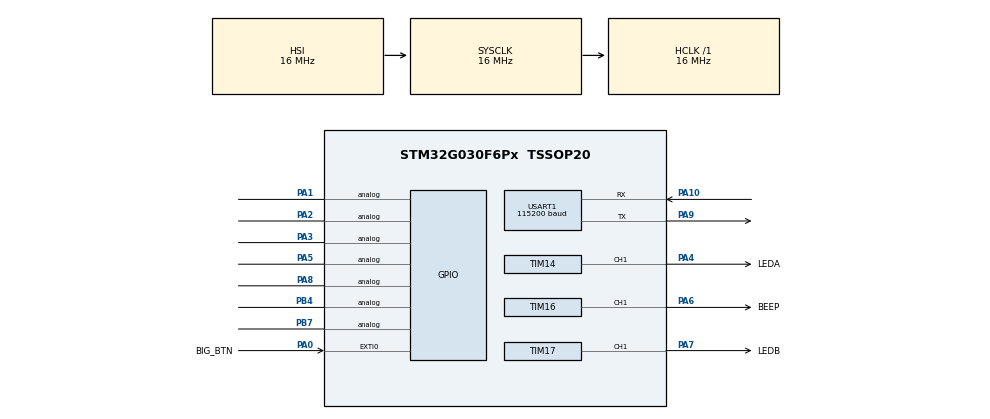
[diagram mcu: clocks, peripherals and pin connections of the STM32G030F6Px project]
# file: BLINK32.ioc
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Mcu.Family=STM32G0
Mcu.Name=STM32G030F6Px
Mcu.Package=TSSOP20
NVIC.EXTI0_1_IRQn=true\:0\:0\:false\:false\:true\:true\:true\:true
NVIC.RTC_TAMP_IRQn=true\:0\:0\:false\:false\:true\:true\:true\:true
NVIC.USART1_IRQn=true\:0\:0\:false\:false\:true\:true\:true\:true
PA0.GPIO_Label=BIG_BTN
PA0.GPIO_ModeDefaultEXTI=GPIO_MODE_IT_RISING
PA0.GPIO_PuPd=GPIO_PULLDOWN
PA0.Signal=GPXTI0
PA1.Signal=GPIO_Analog
PA10\ [PA12].Mode=Asynchronous
PA10\ [PA12].Signal=USART1_RX
PA13.Mode=Serial_Wire
PA13.Signal=SYS_SWDIO
PA14-BOOT0.Mode=Serial_Wire
PA14-BOOT0.Signal=SYS_SWCLK
PA14-BOOT0__PA15.StandardMode=true
PA2.Signal=GPIO_Analog
PA3.Signal=GPIO_Analog
PA4.GPIO_Label=LEDA
PA4.Signal=S_TIM14_CH1
PA5.Signal=GPIO_Analog
PA6.GPIO_Label=BEEP
PA6.Signal=S_TIM16_CH1
PA7.GPIO_Label=LEDB
PA7.Signal=S_TIM17_CH1
PA8.Signal=GPIO_Analog
PA9\ [PA11].Mode=Asynchronous
PA9\ [PA11].Signal=USART1_TX
PB0__PB1__PB2__PA8.StandardMode=true
PB3__PB4__PB5__PB6.StandardMode=true
PB4.Signal=GPIO_Analog
PB7.Signal=GPIO_Analog
PB7__PB8.StandardMode=true
PC14-OSC32_IN\ (PC14).Mode=LSE-External-Oscillator
PC14-OSC32_IN\ (PC14).Signal=RCC_OSC32_IN
PC14-OSC32_IN\ (PC14)__PB9.StandardMode=true
PC15-OSC32_OUT\ (PC15).Mode=LSE-External-Oscillator
PC15-OSC32_OUT\ (PC15).Signal=RCC_OSC32_OUT
ProjectManager.HeapSize=0x200
ProjectManager.StackSize=0x400
ProjectManager.TargetToolchain=CMake
RCC.ADCFreq_Value=16000000
RCC.AHBFreq_Value=16000000
RCC.CortexFreq_Value=16000000
RCC.EXTERNAL_CLOCK_VALUE=12288000
RCC.HCLKFreq_Value=16000000
RCC.HSE_VALUE=8000000
RCC.HSI_VALUE=16000000
RCC.RTCClockSelection=RCC_RTCCLKSOURCE_LSE
RCC.SYSCLKFreq_VALUE=16000000
RCC.VCOOutputFreq_Value=128000000
RTC.Alarm-Alarm\ A=RTC_ALARM_A
RTC.Format=RTC_FORMAT_BCD
RTC.Hours=7
RTC.Hours_A-Alarm\ A=8
RTC.Minutes=59
RTC.Minutes_A-Alarm\ A=0
RTC.Seconds=30
RTC.Year=25
SH.S_TIM14_CH1.0=TIM14_CH1,PWM Generation1 CH1
SH.S_TIM16_CH1.0=TIM16_CH1,PWM Generation1 CH1
SH.S_TIM17_CH1.0=TIM17_CH1,PWM Generation1 CH1
TIM14.AutoReloadPreload=TIM_AUTORELOAD_PRELOAD_ENABLE
TIM14.Channel=TIM_CHANNEL_1
TIM14.Period=1600-1
TIM14.Prescaler=0
TIM16.AutoReloadPreload=TIM_AUTORELOAD_PRELOAD_ENABLE
TIM16.Channel=TIM_CHANNEL_1
TIM16.Period=1600-1
TIM16.Prescaler=0
TIM17.AutoReloadPreload=TIM_AUTORELOAD_PRELOAD_ENABLE
TIM17.Channel=TIM_CHANNEL_1
TIM17.Period=1600-1
USART1.BaudRate=115200
USART1.Parity=PARITY_EVEN
USART1.VirtualMode-Asynchronous=VM_ASYNC
USART1.WordLength=WORDLENGTH_9B
VP_RTC_VS_RTC_Activate.Mode=RTC_Enabled
VP_RTC_VS_RTC_Alarm_A_Intern.Mode=Alarm A
VP_RTC_VS_RTC_Calendar.Mode=RTC_Calendar
VP_SYS_VS_PINREMAP.Mode=PINREMAP
VP_SYS_VS_PINREMAP_10_12.Mode=PINREMAP_10_12
VP_TIM14_VS_ClockSourceINT.Mode=Enable_Timer
VP_TIM16_VS_ClockSourceINT.Mode=Enable_Timer
VP_TIM17_VS_ClockSourceINT.Mode=Enable_Timer
board=custom

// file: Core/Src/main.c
/* USER CODE BEGIN Header */
/**
  ******************************************************************************
  * @file           : main.c
  * @brief          : Main program body
  ******************************************************************************
  * @attention
  *
  * Copyright (c) 2025 STMicroelectronics.
  * All rights reserved.
  *
  * This software is licensed under terms that can be found in the LICENSE file
  * in the root directory of this software component.
  * If no LICENSE file comes with this software, it is provided AS-IS.
  *
  ******************************************************************************
  */
/* USER CODE END Header */
#include "main.h"
#include "rtc.h"
#include "tim.h"
#include "usart.h"
#include "gpio.h"

/* USER CODE BEGIN Includes */
#include <string.h>
#include <stdlib.h>
/* USER CODE END Includes */

/* USER CODE BEGIN PV */
// 灯光状态枚举
LightStateTypeDef lightState = LIGHT_OFF;
uint32_t pressStartTime = 0;
uint32_t dimStartTime = 0;
uint8_t buttonPressed = 0;
// 添加时间打印相关变量
uint32_t lastPrintTime = 0;

// 添加串口接收相关变量
uint8_t rxBuffer[50];  // 接收缓冲区
uint8_t rxIndex = 0;   // 接收索引
volatile uint8_t playBeepFlag = 0;  // 蜂鸣器播放标志
volatile uint8_t alarmWakeup = 0;     // 闹钟唤醒标志
uint8_t alarmEnabled = 0;             // 闹铃启用标志

typedef enum {
  WAKEUP_SOURCE_RESET = 0,
  WAKEUP_SOURCE_BUTTON,
  WAKEUP_SOURCE_ALARM,
  WAKEUP_SOURCE_OTHER
} WakeupSourceTypeDef;

WakeupSourceTypeDef wakeupSource = WAKEUP_SOURCE_RESET;

/* USER CODE END PV */

void SystemClock_Config(void);

/* USER CODE BEGIN 0 */
// 串口命令处理函数声明
void ProcessSerialCommand(char* command);
void SetSystemTime(char* timeStr);
void SetSystemDate(char* dateStr);
// 添加闹铃处理函数声明
void SetAlarmTime(char* alarmStr);
void CancelAlarm(void);
void PlayBeepSound(void);

// 轻量级字符串格式化辅助函数
static inline void append2digits(char* buf, int val) {
  buf[0] = (val / 10) + '0';
  buf[1] = (val % 10) + '0';
  buf[2] = '\0';
}

// 简单的字符串解析时间 (HH:MM:SS)，返回0成功，-1失败
static inline int parseTime(const char* str, int* h, int* m, int* s) {
  // 简单实现：查找冒号，atoi
  const char* p = str;
  char tmp[3] = {0};
  // 解析小时
  if (*p < '0' || *p > '9') return -1;
  tmp[0] = *p++;
  if (*p >= '0' && *p <= '9') tmp[1] = *p++;
  *h = atoi(tmp);
  if (*p != ':') return -1;
  p++;
  // 解析分钟
  if (*p < '0' || *p > '9') return -1;
  tmp[0] = *p++;
  if (*p >= '0' && *p <= '9') tmp[1] = *p++;
  *m = atoi(tmp);
  if (*p != ':') return -1;
  p++;
  // 解析秒
  if (*p < '0' || *p > '9') return -1;
  tmp[0] = *p++;
  if (*p >= '0' && *p <= '9') tmp[1] = *p++;
  *s = atoi(tmp);
  return 0;
}

// 简单的日期解析 (YYYY-MM-DD)
static inline int parseDate(const char* str, int* y, int* m, int* d) {
  const char* p = str;
  char tmp[5] = {0};
  // 解析年份4位
  for (int i = 0; i < 4; i++) {
    if (*p < '0' || *p > '9') return -1;
    tmp[i] = *p++;
  }
  *y = atoi(tmp);
  if (*p != '-') return -1;
  p++;
  // 解析月份2位
  if (*p < '0' || *p > '9') return -1;
  tmp[0] = *p++; tmp[1] = *p++; tmp[2] = '\0';
  *m = atoi(tmp);
  if (*p != '-') return -1;
  p++;
  // 解析日期2位
  if (*p < '0' || *p > '9') return -1;
  tmp[0] = *p++; tmp[1] = *p++; tmp[2] = '\0';
  *d = atoi(tmp);
  return 0;
}
/* USER CODE END 0 */

int main(void)
{

  /* MCU Configuration--------------------------------------------------------*/

  /* Reset of all peripherals, Initializes the Flash interface and the Systick. */
  HAL_Init();

  /* Configure the system clock */
  SystemClock_Config();

  /* Initialize all configured peripherals */
  MX_GPIO_Init();
  MX_RTC_Init();
  MX_TIM14_Init();
  MX_USART1_UART_Init();
  MX_TIM16_Init();
  MX_TIM17_Init();
  /* USER CODE BEGIN 2 */

  // 检查唤醒源 - 必须在所有外设初始化完成后进行
  if (__HAL_PWR_GET_FLAG(PWR_FLAG_SB) != RESET) {
    // 从Standby模式唤醒
    // 先检查闹钟唤醒标志（在RTC中断中设置）
    if (alarmWakeup) {
      // RTC闹钟唤醒
      wakeupSource = WAKEUP_SOURCE_ALARM;
      alarmWakeup = 0;
    } else if (__HAL_PWR_GET_FLAG(PWR_FLAG_WUF1) != RESET) {
      // 按键唤醒 (WKUP1 - PA0)
      wakeupSource = WAKEUP_SOURCE_BUTTON;
      __HAL_PWR_CLEAR_FLAG(PWR_FLAG_WUF1);
    } else {
      // 其他唤醒源
      wakeupSource = WAKEUP_SOURCE_OTHER;
    }
    // 清除Standby标志
    __HAL_PWR_CLEAR_FLAG(PWR_FLAG_SB);
  } else {
    // 复位启动
    wakeupSource = WAKEUP_SOURCE_RESET;
  }

  // 启动TIM14 PWM输出 (LEDA)
  HAL_TIM_PWM_Start(&htim14, TIM_CHANNEL_1);

  // 启动TIM17 PWM输出 (LEDB)
  HAL_TIM_PWM_Start(&htim17, TIM_CHANNEL_1);

  // 启动TIM16 PWM输出 (蜂鸣器)
  HAL_TIM_PWM_Start(&htim16, TIM_CHANNEL_1);
  __HAL_TIM_SET_COMPARE(&htim16, TIM_CHANNEL_1, 0);

  // 初始化完成后直接进入微光模式
  SetLightDim();
  lightState = LIGHT_DIM;
  dimStartTime = HAL_GetTick();

  // 启动串口接收
  HAL_UART_Receive_IT(&huart1, &rxBuffer[rxIndex], 1);
  /* USER CODE END 2 */

  /* Infinite loop */
  while (1)
  {

    /* USER CODE BEGIN 3 */

    // 处理蜂鸣器播放标志 - 仅当闹钟唤醒时才播放
    if (playBeepFlag && wakeupSource == WAKEUP_SOURCE_ALARM) {
      playBeepFlag = 0;
      PlayBeepSound();
    }

    // 每隔1秒打印系统时间（仅在非待机模式下）
    if ((HAL_GetTick() - lastPrintTime) >= 1000) {
      // 获取RTC时间
      RTC_TimeTypeDef sTime;
      RTC_DateTypeDef sDate;

      HAL_RTC_GetTime(&hrtc, &sTime, RTC_FORMAT_BIN);
      HAL_RTC_GetDate(&hrtc, &sDate, RTC_FORMAT_BIN);

      // 获取闹铃状态
      char* alarmStatus = GetAlarmStatus();
     // 根据唤醒源生成相应的字符串
      char* wakeupSourceStr;
      switch (wakeupSource) {
        case WAKEUP_SOURCE_BUTTON:
          wakeupSourceStr = "BUTTON";
          break;
        case WAKEUP_SOURCE_ALARM:
          wakeupSourceStr = "ALARM";
          break;
        case WAKEUP_SOURCE_OTHER:
          wakeupSourceStr = "OTHER";
          break;
        case WAKEUP_SOURCE_RESET:
        default:
          wakeupSourceStr = "RESET";
          break;
      }

      // 格式化时间字符串 (简化版，节省代码空间)
      char timeStr[50];
      char *p = timeStr;
      // YYYY-MM-DD
      *p++ = '2'; *p++ = '0';
      *p++ = (sDate.Year / 10) + '0';
      *p++ = (sDate.Year % 10) + '0';
      *p++ = '-';
      *p++ = (sDate.Month / 10) + '0';
      *p++ = (sDate.Month % 10) + '0';
      *p++ = '-';
      *p++ = (sDate.Date / 10) + '0';
      *p++ = (sDate.Date % 10) + '0';
      *p++ = ' ';
      // HH:MM:SS
      *p++ = (sTime.Hours / 10) + '0';
      *p++ = (sTime.Hours % 10) + '0';
      *p++ = ':';
      *p++ = (sTime.Minutes / 10) + '0';
      *p++ = (sTime.Minutes % 10) + '0';
      *p++ = ':';
      *p++ = (sTime.Seconds / 10) + '0';
      *p++ = (sTime.Seconds % 10) + '0';
      *p++ = ' ';
      // ALARM:status
      strcpy(p, "ALARM:"); p += 6;
      strcpy(p, alarmStatus); p += strlen(alarmStatus);
      *p++ = ' ';
      // WAKEUP:source
      strcpy(p, "WAKEUP:"); p += 7;
      strcpy(p, wakeupSourceStr); p += strlen(wakeupSourceStr);
      *p++ = '\r'; *p++ = '\n';
      *p = '\0';

      // 通过串口打印时间、日期和闹铃信息
      HAL_UART_Transmit(&huart1, (uint8_t*)timeStr, strlen(timeStr), HAL_MAX_DELAY);

      // 更新上次打印时间
      lastPrintTime = HAL_GetTick();
    }

    // 检查微光模式超时 (30分钟)
    if (lightState == LIGHT_DIM) {
      if ((HAL_GetTick() - dimStartTime) >= DIM_TIMEOUT_MS) {
        // 微光模式超时，关闭灯光并进入待机模式
        TurnOffLight();
        EnterStandbyMode();
      }
    }

    // 检查按键状态（软件轮询方式检测按键释放）
    if (buttonPressed) {

      if (HAL_GPIO_ReadPin(BIG_BTN_GPIO_Port, BIG_BTN_Pin) == GPIO_PIN_RESET) {
        // 按键已释放，处理按键事件
        buttonPressed = 0;
        uint32_t pressDuration = HAL_GetTick() - pressStartTime;

        uint32_t lightDuration  = HAL_GetTick() - dimStartTime;
        // 根据当前状态和按压时间处理按键事件
        // 灯已经亮了超过 1 秒才允许处理，避免启动后 1 秒内的按键被响应。
        if (lightState == LIGHT_DIM && pressDuration <= SHORT_PRESS_MAX_MS && lightDuration > 1000) {
          // 微光模式下按键 短按：关闭灯光并进入待机模式
          TurnOffLight();
          EnterStandbyMode();
        } else if (lightState == LIGHT_BRIGHT) {
          // 高亮模式下按键：关闭灯光并进入待机模式
          TurnOffLight();
          EnterStandbyMode();
        }
      } else {
        // 按键仍处于按下状态，检查是否为长按
        uint32_t pressDuration = HAL_GetTick() - pressStartTime;
        if (pressDuration > LONG_PRESS_MS && lightState == LIGHT_DIM) {
          // 长按：进入高亮模式（无需等待释放）
          SetLightBright();
          lightState = LIGHT_BRIGHT;
          buttonPressed = 0; // 防止重复触发
        }
      }
    }

    // 短暂延时以减少CPU占用
    HAL_Delay(10);
  }
  /* USER CODE END 3 */
}

void SystemClock_Config(void)
{
  RCC_OscInitTypeDef RCC_OscInitStruct = {0};
  RCC_ClkInitTypeDef RCC_ClkInitStruct = {0};

  /** Configure the main internal regulator output voltage
  */
  HAL_PWREx_ControlVoltageScaling(PWR_REGULATOR_VOLTAGE_SCALE1);

  /** Configure LSE Drive Capability
  */
  HAL_PWR_EnableBkUpAccess();
  __HAL_RCC_LSEDRIVE_CONFIG(RCC_LSEDRIVE_LOW);

  /** Initializes the RCC Oscillators according to the specified parameters
  * in the RCC_OscInitTypeDef structure.
  */
  RCC_OscInitStruct.OscillatorType = RCC_OSCILLATORTYPE_HSI|RCC_OSCILLATORTYPE_LSE;
  RCC_OscInitStruct.LSEState = RCC_LSE_ON;
  RCC_OscInitStruct.HSIState = RCC_HSI_ON;
  RCC_OscInitStruct.HSIDiv = RCC_HSI_DIV1;
  RCC_OscInitStruct.HSICalibrationValue = RCC_HSICALIBRATION_DEFAULT;
  RCC_OscInitStruct.PLL.PLLState = RCC_PLL_NONE;
  if (HAL_RCC_OscConfig(&RCC_OscInitStruct) != HAL_OK)
  {
    Error_Handler();
  }

  /** Initializes the CPU, AHB and APB buses clocks
  */
  RCC_ClkInitStruct.ClockType = RCC_CLOCKTYPE_HCLK|RCC_CLOCKTYPE_SYSCLK
                              |RCC_CLOCKTYPE_PCLK1;
  RCC_ClkInitStruct.SYSCLKSource = RCC_SYSCLKSOURCE_HSI;
  RCC_ClkInitStruct.AHBCLKDivider = RCC_SYSCLK_DIV1;
  RCC_ClkInitStruct.APB1CLKDivider = RCC_HCLK_DIV1;

  if (HAL_RCC_ClockConfig(&RCC_ClkInitStruct, FLASH_LATENCY_0) != HAL_OK)
  {
    Error_Handler();
  }
}

/* USER CODE BEGIN 4 */
/**
  * @brief  USART1中断回调函数
  * @param  huart 串口句柄
  * @retval None
  */
void HAL_UART_RxCpltCallback(UART_HandleTypeDef *huart)
{
  if(huart->Instance == USART1) {
    // 如果接收到回车符或换行符，则处理命令
    if(rxBuffer[rxIndex] == '\r' || rxBuffer[rxIndex] == '\n') {
      // 添加字符串结束符
      rxBuffer[rxIndex] = '\0';

      // 处理命令（如果缓冲区不为空）
      if(rxIndex > 0) {
        ProcessSerialCommand((char*)rxBuffer);
      }

      // 重置接收索引
      rxIndex = 0;
    } else {
      // 继续接收下一个字符
      rxIndex++;

      // 防止缓冲区溢出
      if(rxIndex >= sizeof(rxBuffer)-1) {
        rxIndex = 0;
      }
    }

    // 继续接收下一个字节
    HAL_UART_Receive_IT(&huart1, &rxBuffer[rxIndex], 1);
  }
}

/**
  * @brief  处理串口命令
  * @param  command 命令字符串
  * @retval None
  */
void ProcessSerialCommand(char* command) {
  // 移除可能存在的换行符
  char* newline = strchr(command, '\r');
  if(newline) *newline = '\0';
  newline = strchr(command, '\n');
  if(newline) *newline = '\0';

  // 解析命令
  if(strncmp(command, "TIME=", 5) == 0) {
    // 设置时间命令，格式为 TIME=HH:MM:SS
    SetSystemTime(command+5);
  } else if(strncmp(command, "DATE=", 5) == 0) {
    // 设置日期命令，格式为 DATE=YYYY-MM-DD
    SetSystemDate(command+5);
  } else if(strncmp(command, "ALARM=", 6) == 0) {
    // 设置闹铃命令，格式为 ALARM=HH:MM:SS 或 ALARM=OFF
    SetAlarmTime(command+6);
  } else if(strcmp(command, "BEEP=1") == 0) {
    // 播放提示音命令 - 设置标志由主循环处理
    playBeepFlag = 1;
    char successMsg[] = "Beep command received\r\n";
    HAL_UART_Transmit(&huart1, (uint8_t*)successMsg, strlen(successMsg), HAL_MAX_DELAY);
  } else {
    // 未知命令，返回错误信息
    char errorMsg[] = "ERROR: Unknown command\r\n";
    HAL_UART_Transmit(&huart1, (uint8_t*)errorMsg, strlen(errorMsg), HAL_MAX_DELAY);
  }
}

/**
  * @brief  设置系统时间
  * @param  timeStr 时间字符串，格式为 HH:MM:SS
  * @retval None
  */
void SetSystemTime(char* timeStr) {
  int hours, minutes, seconds;

  // 解析时间字符串
  if(parseTime(timeStr, &hours, &minutes, &seconds) == 0) {
    // 验证时间有效性
    if(hours >= 0 && hours <= 23 &&
       minutes >= 0 && minutes <= 59 &&
       seconds >= 0 && seconds <= 59) {

      // 设置RTC时间
      RTC_TimeTypeDef sTime;
      sTime.Hours = hours;
      sTime.Minutes = minutes;
      sTime.Seconds = seconds;
      sTime.DayLightSaving = RTC_DAYLIGHTSAVING_NONE;
      sTime.StoreOperation = RTC_STOREOPERATION_RESET;

      if(HAL_RTC_SetTime(&hrtc, &sTime, RTC_FORMAT_BIN) == HAL_OK) {
        char successMsg[] = "Time set successfully\r\n";
        HAL_UART_Transmit(&huart1, (uint8_t*)successMsg, strlen(successMsg), HAL_MAX_DELAY);
      } else {
        char errorMsg[] = "ERROR: Failed to set time\r\n";
        HAL_UART_Transmit(&huart1, (uint8_t*)errorMsg, strlen(errorMsg), HAL_MAX_DELAY);
      }
    } else {
      char errorMsg[] = "ERROR: Invalid time\r\n";
      HAL_UART_Transmit(&huart1, (uint8_t*)errorMsg, strlen(errorMsg), HAL_MAX_DELAY);
    }
  } else {
    char errorMsg[] = "ERROR: Invalid time\r\n";
    HAL_UART_Transmit(&huart1, (uint8_t*)errorMsg, strlen(errorMsg), HAL_MAX_DELAY);
  }
}

/**
  * @brief  设置系统日期
  * @param  dateStr 日期字符串，格式为 YYYY-MM-DD
  * @retval None
  */
void SetSystemDate(char* dateStr) {
  int year, month, day;

  // 解析日期字符串
  if(parseDate(dateStr, &year, &month, &day) == 0) {
    // 验证日期有效性
    if(year >= 2000 && year <= 2099 &&
       month >= 1 && month <= 12 &&
       day >= 1 && day <= 31) {

      // 转换年份为RTC格式 (0-99)
      year = year - 2000;

      // 设置RTC日期
      RTC_DateTypeDef sDate;
      sDate.Year = year;
      sDate.Month = month;
      sDate.Date = day;
      sDate.WeekDay = RTC_WEEKDAY_MONDAY;

      if(HAL_RTC_SetDate(&hrtc, &sDate, RTC_FORMAT_BIN) == HAL_OK) {
        char successMsg[] = "Date set OK\r\n";
        HAL_UART_Transmit(&huart1, (uint8_t*)successMsg, strlen(successMsg), HAL_MAX_DELAY);
      } else {
        char errorMsg[] = "ERROR: Set date\r\n";
        HAL_UART_Transmit(&huart1, (uint8_t*)errorMsg, strlen(errorMsg), HAL_MAX_DELAY);
      }
    } else {
      char errorMsg[] = "ERROR: Invalid date\r\n";
      HAL_UART_Transmit(&huart1, (uint8_t*)errorMsg, strlen(errorMsg), HAL_MAX_DELAY);
    }
  } else {
    char errorMsg[] = "ERROR: Invalid date\r\n";
    HAL_UART_Transmit(&huart1, (uint8_t*)errorMsg, strlen(errorMsg), HAL_MAX_DELAY);
  }
}

/**
  * @brief  设置闹铃时间
  * @param  alarmStr 闹铃字符串，格式为 HH:MM:SS 或 OFF
  * @retval None
  */
void SetAlarmTime(char* alarmStr) {
  // 检查是否为取消闹铃命令
  if(strcmp(alarmStr, "OFF") == 0) {
    // 取消闹铃
    CancelAlarm();
    return;
  }

  int hours, minutes, seconds;

  // 解析时间字符串
  if(parseTime(alarmStr, &hours, &minutes, &seconds) == 0) {
    // 验证时间有效性
    if(hours >= 0 && hours <= 23 &&
       minutes >= 0 && minutes <= 59 &&
       seconds >= 0 && seconds <= 59) {

      // 设置RTC闹铃 - 使用日期模式实现每天重复
      RTC_AlarmTypeDef sAlarm;
      sAlarm.AlarmTime.Hours = hours;
      sAlarm.AlarmTime.Minutes = minutes;
      sAlarm.AlarmTime.Seconds = seconds;
      sAlarm.AlarmTime.SubSeconds = 0;
      sAlarm.AlarmTime.DayLightSaving = RTC_DAYLIGHTSAVING_NONE;
      sAlarm.AlarmTime.StoreOperation = RTC_STOREOPERATION_RESET;
      sAlarm.AlarmMask = RTC_ALARMMASK_DATEWEEKDAY;
      sAlarm.AlarmSubSecondMask = RTC_ALARMSUBSECONDMASK_ALL;
      sAlarm.AlarmDateWeekDaySel = RTC_ALARMDATEWEEKDAYSEL_DATE;
      sAlarm.AlarmDateWeekDay = 0x1;
      sAlarm.Alarm = RTC_ALARM_A;

      if(HAL_RTC_SetAlarm_IT(&hrtc, &sAlarm, RTC_FORMAT_BIN) == HAL_OK) {
        alarmEnabled = 1;  // 标记闹铃已启用
        char successMsg[] = "Alarm set OK\r\n";
        HAL_UART_Transmit(&huart1, (uint8_t*)successMsg, strlen(successMsg), HAL_MAX_DELAY);
      } else {
        char errorMsg[] = "ERROR: Set alarm\r\n";
        HAL_UART_Transmit(&huart1, (uint8_t*)errorMsg, strlen(errorMsg), HAL_MAX_DELAY);
      }
    } else {
      char errorMsg[] = "ERROR: Invalid alarm\r\n";
      HAL_UART_Transmit(&huart1, (uint8_t*)errorMsg, strlen(errorMsg), HAL_MAX_DELAY);
    }
  } else {
    char errorMsg[] = "ERROR: Invalid alarm\r\n";
    HAL_UART_Transmit(&huart1, (uint8_t*)errorMsg, strlen(errorMsg), HAL_MAX_DELAY);
  }
}

/**
  * @brief  取消闹铃
  * @retval None
  */
void CancelAlarm(void) {
  // 取消RTC闹铃
  if(HAL_RTC_DeactivateAlarm(&hrtc, RTC_ALARM_A) == HAL_OK) {
    alarmEnabled = 0;  // 标记闹铃已停用
    char successMsg[] = "Alarm cancelled successfully\r\n";
    HAL_UART_Transmit(&huart1, (uint8_t*)successMsg, strlen(successMsg), HAL_MAX_DELAY);
  } else {
    char errorMsg[] = "ERROR: Failed to cancel alarm\r\n";
    HAL_UART_Transmit(&huart1, (uint8_t*)errorMsg, strlen(errorMsg), HAL_MAX_DELAY);
  }
}

/**
  * @brief  进入Standby模式
  * @retval None
  */
void EnterStandbyMode(void) {
// 关闭所有外设
  HAL_TIM_PWM_Stop(&htim14, TIM_CHANNEL_1);
  HAL_TIM_PWM_Stop(&htim17, TIM_CHANNEL_1);

  // 清除RTC闹钟标志，以便下次闹钟能正常触发
  __HAL_RTC_ALARM_CLEAR_FLAG(&hrtc, RTC_FLAG_ALRAF);

  // 清除所有挂起的中断
  __HAL_RCC_CLEAR_RESET_FLAGS();
  __HAL_PWR_CLEAR_FLAG(PWR_FLAG_WUF1 | PWR_FLAG_WUF2 | PWR_FLAG_WUFI | PWR_FLAG_WUF6 | PWR_FLAG_SB);

  // 使能唤醒引脚 (PA0)
  HAL_PWR_EnableWakeUpPin(PWR_WAKEUP_PIN1_HIGH);

  // 注意: RTC闹铃唤醒不需要使能WKUP4引脚，它通过内部唤醒线路触发
  // RTC闹铃配置已在rtc.c中通过HAL_RTC_SetAlarm_IT完成

  // 发送进入待机模式的消息
  char standbyMsg[] = "Entering Standby Mode...\r\n";
  HAL_UART_Transmit(&huart1, (uint8_t*)standbyMsg, strlen(standbyMsg), HAL_MAX_DELAY);

  // 重置时间打印变量
  lastPrintTime = 0;

  // // 进入Standby模式
  HAL_PWR_EnterSTANDBYMode();
}

/**
  * @brief  设置微光模式 (10% PWM)
  * @retval None
  */
void SetLightDim(void) {
  // 设置PWM占空比为10% (周期为1600，10%为160)
  __HAL_TIM_SET_COMPARE(&htim14, TIM_CHANNEL_1, 0);  // LEDA 10%
  __HAL_TIM_SET_COMPARE(&htim17, TIM_CHANNEL_1, 100);// LEDB 10%
}

/**
  * @brief  设置高亮模式 (50% PWM)
  * @retval None
  */
void SetLightBright(void) {
  // 设置PWM占空比为50% (周期为1600，50%为800)
  __HAL_TIM_SET_COMPARE(&htim14, TIM_CHANNEL_1, 800);
  __HAL_TIM_SET_COMPARE(&htim17, TIM_CHANNEL_1, 160);
}

/**
  * @brief  关闭灯光
  * @retval None
  */
void TurnOffLight(void) {
  // 设置PWM占空比为0%
  __HAL_TIM_SET_COMPARE(&htim17, TIM_CHANNEL_1, 0);
}

/**
  * @brief  播放提示音 - 春雨沙沙
  * @retval None
  */
void PlayBeepSound(void) {
  // APB1 = 16MHz, Prescaler = 15 → 1MHz
  // Period = 1000000 / Hz - 1
  // 0 = 休止符

  typedef struct {
    uint32_t period;    // ARR值，0=休止
    uint16_t delay;     // 延时ms
  } Note;
  Note melody[] = {
    // 春雨沙沙沙 沙沙沙
    {2551, 200}, {2273, 200}, {2551, 200}, {3030, 300},
    {2551, 200}, {2273, 200}, {2551, 200}, {3030, 300},
    // 滴答滴答 滴答滴答
    {1911, 150}, {2551, 150}, {1911, 150}, {2551, 150},
    {1911, 150}, {2551, 150}, {1911, 150}, {2551, 150},
    // 种子发芽 种子发芽
    {1517, 250}, {0, 100}, {1517, 250}, {0, 100},
    {1704, 250}, {0, 100}, {1911, 250}, {0, 100},
    // 啦啦啦啦
    {1911, 150}, {1911, 150}, {1911, 150}, {1911, 150},
    {2551, 500},
    // 重复一遍
    {2551, 200}, {2273, 200}, {2551, 200}, {3030, 300},
    {2551, 200}, {2273, 200}, {2551, 200}, {3030, 300},
    {1911, 150}, {2551, 150}, {1911, 150}, {2551, 150},
    {1517, 250}, {0, 100}, {1704, 250}, {0, 100},
    {1911, 600},
  };

  // 配置定时器基础参数
  htim16.Init.Prescaler = 15;   // 16MHz / 16 = 1MHz
  htim16.Init.Period = melody[0].period;
  htim16.Init.ClockDivision = TIM_CLOCKDIVISION_DIV1;
  htim16.Init.RepetitionCounter = 0;
  htim16.Init.AutoReloadPreload = TIM_AUTORELOAD_PRELOAD_ENABLE;

  if (HAL_TIM_Base_Init(&htim16) != HAL_OK) return;
  if (HAL_TIM_PWM_Init(&htim16) != HAL_OK) return;

  // 播放旋律
  for (int i = 0; i < 37; i++) {
    if (melody[i].period == 0) {
      // 休止符 - 关闭声音
      __HAL_TIM_SET_COMPARE(&htim16, TIM_CHANNEL_1, 0);
    } else {
      // 设置频率和占空比(30%)
      __HAL_TIM_SET_AUTORELOAD(&htim16, melody[i].period);
      __HAL_TIM_SET_COMPARE(&htim16, TIM_CHANNEL_1, melody[i].period * 30 / 100);
      HAL_TIM_PWM_Start(&htim16, TIM_CHANNEL_1);
    }
    HAL_Delay(melody[i].delay);
  }

  // 停止蜂鸣器
  HAL_TIM_PWM_Stop(&htim16, TIM_CHANNEL_1);
  __HAL_TIM_SET_COMPARE(&htim16, TIM_CHANNEL_1, 0);
}

/**
  * @brief  获取闹铃状态
  * @retval 闹铃状态字符串
  */
char* GetAlarmStatus(void) {
  RTC_AlarmTypeDef sAlarm;
  static char alarmStr[12];

  // 先检查闹铃启用标志，避免读取到已停用闹铃的残留寄存器值
  if (!alarmEnabled) {
    return "OFF";
  }

  // 尝试获取闹铃信息
  if (HAL_RTC_GetAlarm(&hrtc, &sAlarm, RTC_ALARM_A, RTC_FORMAT_BIN) == HAL_OK) {
    // 如果闹铃已设置，返回闹铃时间 (HH:MM:SS)
    alarmStr[0] = (sAlarm.AlarmTime.Hours / 10) + '0';
    alarmStr[1] = (sAlarm.AlarmTime.Hours % 10) + '0';
    alarmStr[2] = ':';
    alarmStr[3] = (sAlarm.AlarmTime.Minutes / 10) + '0';
    alarmStr[4] = (sAlarm.AlarmTime.Minutes % 10) + '0';
    alarmStr[5] = ':';
    alarmStr[6] = (sAlarm.AlarmTime.Seconds / 10) + '0';
    alarmStr[7] = (sAlarm.AlarmTime.Seconds % 10) + '0';
    alarmStr[8] = '\0';
    return alarmStr;
  } else {
    // 如果闹铃未设置或获取失败，返回OFF
    return "OFF";
  }
}

/* USER CODE END 4 */

void Error_Handler(void)
{
  __disable_irq();
  while (1)
  {
  }
}
